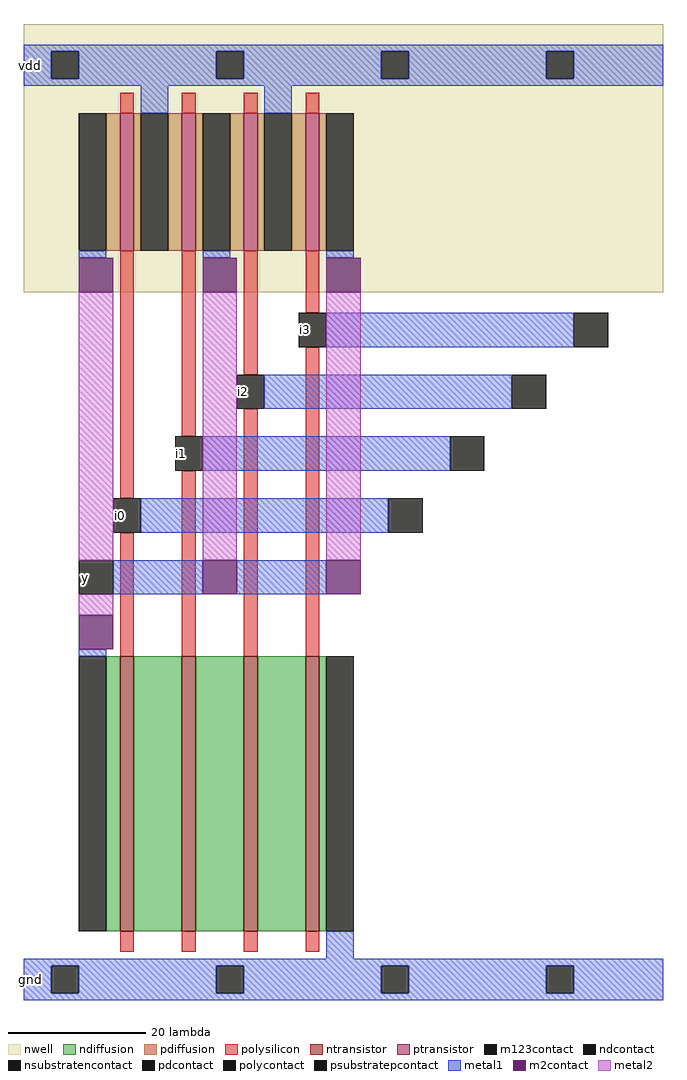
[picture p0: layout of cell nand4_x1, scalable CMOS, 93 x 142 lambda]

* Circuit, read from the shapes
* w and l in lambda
.subckt nand4_x1 i0 i1 i2 i3 y vdd gnd
M1 n1 i0 y gnd nfet w=40 l=2
M2 n2 i1 n1 gnd nfet w=40 l=2
M3 n3 i2 n2 gnd nfet w=40 l=2
M4 gnd i3 n3 gnd nfet w=40 l=2
M5 vdd i0 y vdd pfet w=20 l=2
M6 y i1 vdd vdd pfet w=20 l=2
M7 vdd i2 y vdd pfet w=20 l=2
M8 y i3 vdd vdd pfet w=20 l=2
.ends

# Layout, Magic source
magic
tech scmos
<< nwell >>
rect 0 103 93 142
<< ntransistor >>
rect 14 10 16 50
rect 23 10 25 50
rect 32 10 34 50
rect 41 10 43 50
<< ptransistor >>
rect 14 109 16 129
rect 23 109 25 129
rect 32 109 34 129
rect 41 109 43 129
<< ndiffusion >>
rect 12 10 14 50
rect 16 10 23 50
rect 25 10 32 50
rect 34 10 41 50
rect 43 10 44 50
<< pdiffusion >>
rect 12 109 14 129
rect 16 109 17 129
rect 21 109 23 129
rect 25 109 26 129
rect 30 109 32 129
rect 34 109 35 129
rect 39 109 41 129
rect 43 109 44 129
<< ndcontact >>
rect 8 10 12 50
rect 44 10 48 50
<< pdcontact >>
rect 8 109 12 129
rect 17 109 21 129
rect 26 109 30 129
rect 35 109 39 129
rect 44 109 48 129
<< psubstratepcontact >>
rect 4 1 8 5
rect 28 1 32 5
rect 52 1 56 5
rect 76 1 80 5
<< nsubstratencontact >>
rect 4 134 8 138
rect 28 134 32 138
rect 52 134 56 138
rect 76 134 80 138
<< polysilicon >>
rect 14 129 16 132
rect 23 129 25 132
rect 32 129 34 132
rect 41 129 43 132
rect 14 73 16 109
rect 23 82 25 109
rect 32 91 34 109
rect 41 100 43 109
rect 14 50 16 68
rect 23 50 25 77
rect 32 50 34 86
rect 41 50 43 95
rect 14 7 16 10
rect 23 7 25 10
rect 32 7 34 10
rect 41 7 43 10
<< polycontact >>
rect 40 95 44 100
rect 31 86 35 91
rect 22 77 26 82
rect 13 68 17 73
<< metal1 >>
rect 0 138 93 139
rect 0 134 4 138
rect 8 134 28 138
rect 32 134 52 138
rect 56 134 76 138
rect 80 134 93 138
rect 0 133 93 134
rect 17 129 21 133
rect 35 129 39 133
rect 8 108 12 109
rect 26 108 30 109
rect 44 108 48 109
rect 44 95 80 100
rect 35 86 71 91
rect 26 77 62 82
rect 17 68 53 73
rect 13 59 26 64
rect 31 59 44 64
rect 8 50 12 51
rect 44 6 48 10
rect 0 5 93 6
rect 0 1 4 5
rect 8 1 28 5
rect 32 1 52 5
rect 56 1 76 5
rect 80 1 93 5
rect 0 0 93 1
<< m2contact >>
rect 8 103 13 108
rect 26 103 31 108
rect 44 103 49 108
rect 26 59 31 64
rect 44 59 49 64
rect 8 51 13 56
<< metal2 >>
rect 8 64 13 103
rect 26 64 31 103
rect 44 64 49 103
rect 8 56 13 59
<< m123contact >>
rect 8 59 13 64
rect 80 95 85 100
rect 71 86 76 91
rect 62 77 67 82
rect 53 68 58 73
<< labels >>
rlabel metal1 13 68 15 73 0 i0
port 1 nsew
rlabel metal1 22 77 24 82 0 i1
port 2 nsew
rlabel metal1 31 86 33 91 0 i2
port 3 nsew
rlabel metal1 40 95 42 100 0 i3
port 4 nsew
rlabel metal1 8 59 10 64 0 y
port 5 nsew
rlabel metal1 0 133 2 139 0 vdd
port 6 nsew
rlabel metal1 0 0 2 6 0 gnd
port 7 nsew
<< end >>
